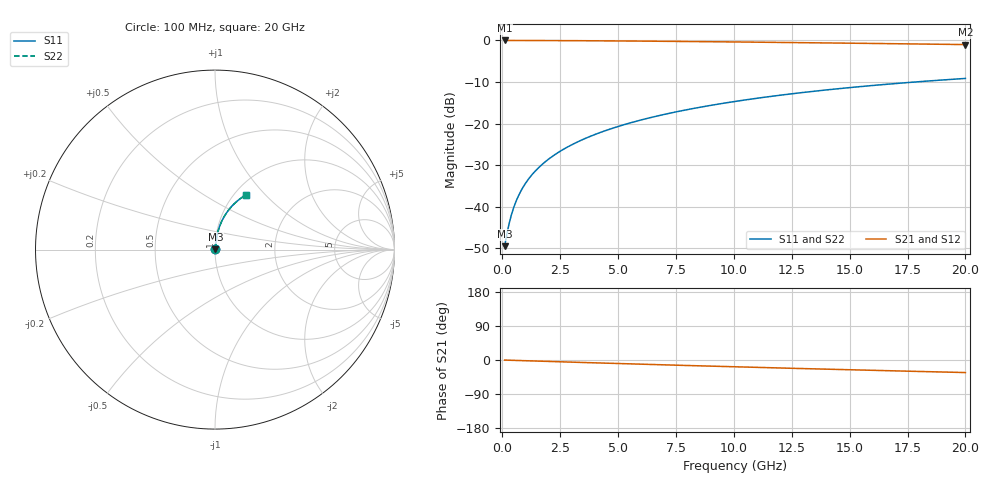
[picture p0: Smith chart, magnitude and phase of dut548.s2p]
! Touchstone file exported from HFSS 2024.1.0
!  File:  C:/UserFiles/LocalFiles/RDL_TSV_Batchsim/temp_RDL_bottom_548_1779689276.aedt
!  Generated:  02:10:00 PM May 25, 2026
!  Design:  RDL_bottom
!  Project:  temp_RDL_bottom_548_1779689276
!  Setup:  Setup1
!  Solution:  Sweep
! Variables:
!  dtsv = 10.80580581um
!  hbump = 3um
!  htsv = 71.25um
!  ldown = 461.49um
!  lrdl = 100um
!  p = 40
!  p1 = 40.96um
!  rhole = 1um
!  t = 450um
!  tdown = 4.33um
!  trdl = 3.915915916um
!  wdown = 14.47um
!  wrdl = 20um
# GHz S MA R 50.000000
! Terminal data exported
! Port[1] = RDL1_T1
! Port[2] = RDL1_T2
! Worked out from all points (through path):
!   200 points, 100 MHz to 20 GHz, reference 50 ohm
!   highest |S21| = -0.02 dB at 100 MHz (marker M1); lowest = -1.0 dB at 20 GHz (marker M2)
!   group delay of S21, straight-line fit = 4.58 ps
!   lowest |S11| = -49.5 dB at 100 MHz (marker M3), VSWR 1.01, Z = 50.3 + j0.197 ohm
!   |S11| at or under -10 dB: start of sweep to 17.86 GHz
!   |S22| runs from -49.5 to -9.2 dB; largest |S21 - S12| = 3.4e-15
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0.1  0.003347 35.8  0.9973 -0.2  0.9973 -0.2  0.003347 35.8
! Gamma 0 0 0 0
! Port Impedance 50 0 50 0
0.2  0.004708 55.2  0.9972 -0.4  0.9972 -0.4  0.004705 55.2
0.3  0.006345 64.9  0.9971 -0.6  0.9971 -0.6  0.006341 64.9
0.4  0.00809 70.3  0.997 -0.8  0.997 -0.8  0.008084 70.3
0.5  0.009883 73.6  0.9969 -1.0  0.9969 -1.0  0.009877 73.6
0.6  0.0117 75.9  0.9967 -1.2  0.9967 -1.2  0.01169 75.8
0.8  0.01536 78.6  0.9965 -1.5  0.9965 -1.5  0.01536 78.5
1.1  0.02087 80.6  0.9961 -2.1  0.9961 -2.1  0.02086 80.6
1.5  0.02819 81.8  0.9955 -2.9  0.9955 -2.9  0.02818 81.8
1.8  0.03366 82.3  0.995 -3.4  0.995 -3.4  0.03366 82.3
2.1  0.03912 82.5  0.9944 -4.0  0.9944 -4.0  0.03912 82.5
2.7  0.05005 82.6  0.9928 -5.1  0.9928 -5.1  0.05005 82.6
3.5  0.06463 82.4  0.9903 -6.6  0.9903 -6.6  0.06463 82.4
4.2  0.07743 81.9  0.9877 -7.9  0.9877 -7.9  0.07742 81.9
5  0.09208 81.2  0.9844 -9.3  0.9844 -9.3  0.09207 81.2
5.9  0.1086 80.3  0.9802 -10.9  0.9802 -10.9  0.1086 80.3
6.8  0.1251 79.2  0.9756 -12.5  0.9756 -12.5  0.1251 79.2
8.3  0.1525 77.4  0.9674 -15.0  0.9674 -15.0  0.1525 77.3
10.1  0.1851 74.9  0.9567 -18.0  0.9567 -18.0  0.1851 74.9
13.4  0.2433 70.2  0.9356 -23.3  0.9356 -23.3  0.2432 70.2
16.7  0.298 65.4  0.9132 -28.3  0.9132 -28.3  0.2979 65.3
20  0.3485 60.6  0.89 -33.1  0.89 -33.1  0.3484 60.6
